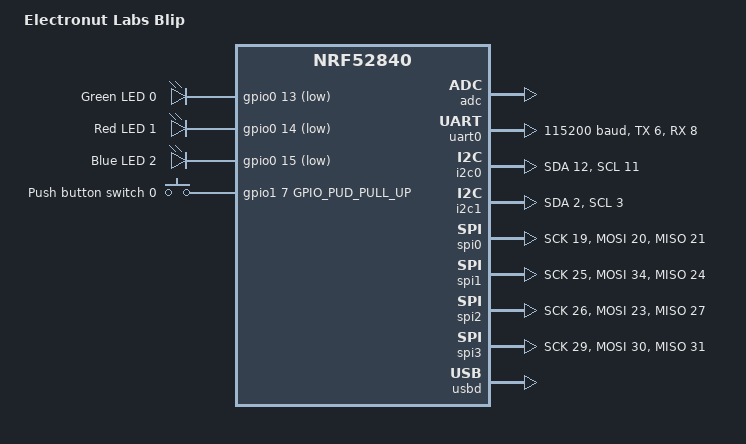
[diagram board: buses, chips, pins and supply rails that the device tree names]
/*
 * Copyright (c) 2017 Linaro Limited
 *
 * Based on nrf52840_pca10056.dts
 * modified 2018 Tavish Naruka <tavishnaruka@gmail.com>
 *
 * SPDX-License-Identifier: Apache-2.0
 */

/dts-v1/;
#include <nordic/nrf52840_qiaa.dtsi>

/ {
	model = "Electronut Labs Blip";
	compatible = "nordic,pca10056-dk", "nordic,nrf52840-qiaa",
		     "nordic,nrf52840";

	chosen {
		zephyr,console = &uart0;
		zephyr,shell-uart = &uart0;
		zephyr,uart-mcumgr = &uart0;
		zephyr,bt-mon-uart = &uart0;
		zephyr,bt-c2h-uart = &uart0;
		zephyr,sram = &sram0;
		zephyr,flash = &flash0;
	};

	leds {
		compatible = "gpio-leds";
		led0: led_0 {
			gpios = <&gpio0 13 GPIO_INT_ACTIVE_LOW>;
			label = "Green LED 0";
		};
		led1: led_1 {
			gpios = <&gpio0 14 GPIO_INT_ACTIVE_LOW>;
			label = "Red LED 1";
		};
		led2: led_2 {
			gpios = <&gpio0 15 GPIO_INT_ACTIVE_LOW>;
			label = "Blue LED 2";
		};
	};

	buttons {
		compatible = "gpio-keys";
		button0: button_0 {
			gpios = <&gpio1 7 GPIO_PUD_PULL_UP>;
			label = "Push button switch 0";
		};
	};

	/* These aliases are provided for compatibility with samples */
	aliases {
		led0 = &led0;
		led1 = &led1;
		led2 = &led2;
		sw0 = &button0;
	};
};

&adc {
	status = "okay";
};

&gpiote {
	status = "okay";
};

&gpio0 {
	status = "okay";
};

&gpio1 {
	status = "okay";
};

&uart0 {
	compatible = "nordic,nrf-uart";
	current-speed = <115200>;
	status = "okay";
	tx-pin = <6>;
	rx-pin = <8>;
	rts-pin = <5>;
	cts-pin = <7>;
};

&i2c0 {
	compatible = "nordic,nrf-twi";
	status = "okay";
	sda-pin = <12>;
	scl-pin = <11>;
};

&i2c1 {
	compatible = "nordic,nrf-twi";
	/* Cannot be used together with spi1. */
	/* status = "okay"; */
	sda-pin = <2>;
	scl-pin = <3>;
};

&spi0 {
	compatible = "nordic,nrf-spi";
	/* Cannot be used together with i2c0. */
	/* status = "okay"; */
	sck-pin = <19>;
	mosi-pin = <20>;
	miso-pin = <21>;
};

&spi1 {
	compatible = "nordic,nrf-spi";
	status = "okay";
	sck-pin = <25>;
	mosi-pin = <34>;
	miso-pin = <24>;
};

&spi2 {
	compatible = "nordic,nrf-spi";
	status = "okay";
	sck-pin = <26>;
	mosi-pin = <23>;
	miso-pin = <27>;
};

&spi3 {
	status = "okay";
	sck-pin = <29>;
	mosi-pin = <30>;
	miso-pin = <31>;
};

&flash0 {
	/*
	 * For more information, see:
	 * http://docs.zephyrproject.org/latest/guides/dts/index.html#flash-partitions
	 */
	partitions {
		compatible = "fixed-partitions";
		#address-cells = <1>;
		#size-cells = <1>;

		boot_partition: partition@0 {
			label = "mcuboot";
			reg = <0x000000000 0x0000C000>;
		};
		slot0_partition: partition@c000 {
			label = "image-0";
			reg = <0x0000C000 0x000067000>;
		};
		slot1_partition: partition@73000 {
			label = "image-1";
			reg = <0x00073000 0x000067000>;
		};
		scratch_partition: partition@da000 {
			label = "image-scratch";
			reg = <0x000da000 0x0001e000>;
		};

		/*
		 * The flash starting at 0x000f8000 and ending at
		 * 0x000fffff is reserved for use by the application.
		 */

		/* Storage partition will be used by FCB/NFFS/NVS if enabled. */
		storage_partition: partition@f8000 {
			label = "storage";
			reg = <0x000f8000 0x00008000>;
		};
	};
};

&usbd {
	compatible = "nordic,nrf-usbd";
	status = "okay";
};
